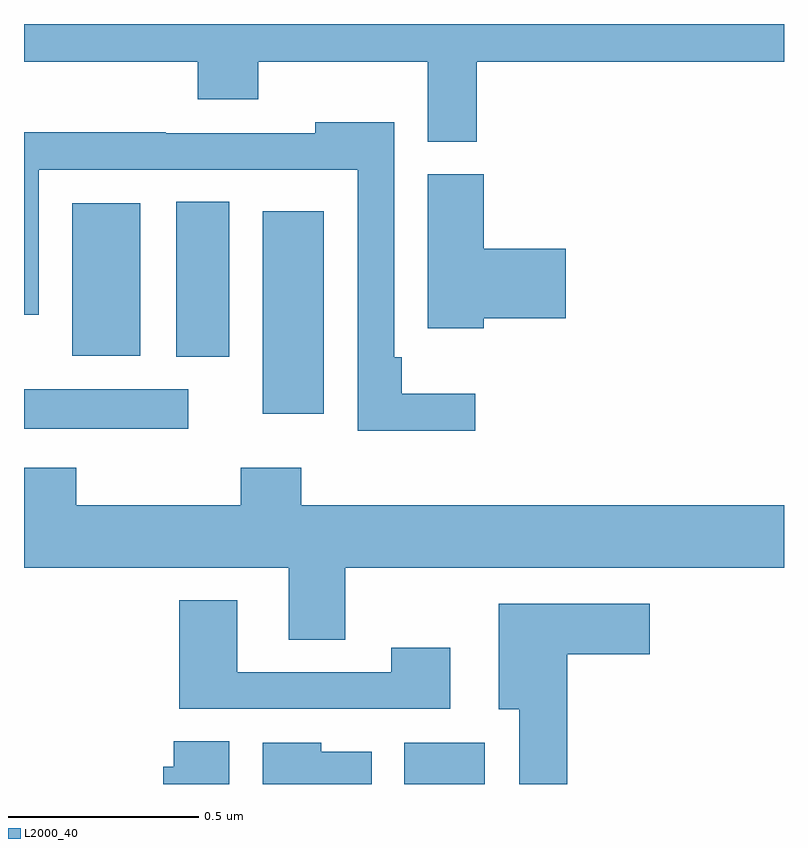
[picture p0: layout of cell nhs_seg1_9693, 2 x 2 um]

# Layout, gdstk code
import gdstk
lib = gdstk.Library(unit=1e-6, precision=1e-09)
def R(c, l, rs):  # rectangles x0, y0, x1, y1
    for r in rs: c.add(gdstk.rectangle(r[:2], r[2:], *l))
def P(c, l, *ps):  # polygons
    for p in ps: c.add(gdstk.Polygon(p, *l))
L2000_40 = (2000, 40)

nhs_seg1_9693 = lib.new_cell('nhs_seg1_9693')
R(nhs_seg1_9693, L2000_40, [(233,515.199,233.212,515.308), (232,516.134,232.432,516.238), (232.628,516.174,232.789,516.706), (232.4,516.323,232.54,516.731), (232.127,516.326,232.306,516.727)])
P(nhs_seg1_9693, L2000_40, [(233.192,517.1),(234,517.1),(234,517.199),(232,517.199),(232,517.1),(232.457,517.1),(232.457,517.001),(232.617,517.001),(232.617,517.1),(233.063,517.1),(233.063,516.889),(233.192,516.889)],
  [(233.188,516.226),(232.994,516.226),(232.994,516.322),(232.974,516.322),(232.974,516.94),(232.767,516.94),(232.767,516.912),(232.373,516.912),(232.373,516.914),(232,516.914),(232,516.434),(232.039,516.434),(232.039,516.816),(232.878,516.816),(232.878,516.128),(233.188,516.128)],
  [(233.21,516.425),(233.425,516.425),(233.425,516.608),(233.21,516.608),(233.21,516.804),(233.063,516.804),(233.063,516.398),(233.21,516.398)],
  [(232.845,515.768),(234,515.768),(234,515.932),(232.73,515.932),(232.73,516.031),(232.57,516.031),(232.57,515.932),(232.137,515.932),(232.137,516.031),(232,516.031),(232,515.768),(232.697,515.768),(232.697,515.578),(232.845,515.578)],
  [(233.122,515.557),(232.966,515.557),(232.966,515.493),(232.561,515.493),(232.561,515.683),(232.409,515.683),(232.409,515.397),(233.122,515.397)],
  [(233.429,515.54),(233.647,515.54),(233.647,515.674),(233.249,515.674),(233.249,515.396),(233.303,515.396),(233.303,515.199),(233.429,515.199)],
  [(232.54,515.312),(232.394,515.312),(232.394,515.245),(232.367,515.245),(232.367,515.199),(232.54,515.199)],
  [(232.915,515.284),(232.782,515.284),(232.782,515.308),(232.628,515.308),(232.628,515.199),(232.915,515.199)])

lib.write_gds('nhs_seg1_9693.gds')
